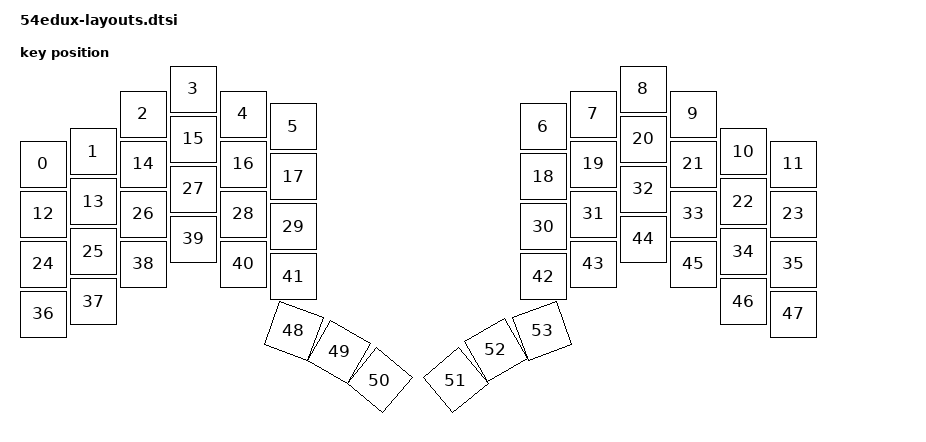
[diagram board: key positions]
#include <physical_layouts.dtsi>

/ {
    physical_layout0: physical_layout_0 {
        compatible = "zmk,physical-layout";
        display-name = "Default";

        kscan = <&kscan0>;
        transform = <&matrix_transform0>;

        keys  //                     w   h    x    y     rot    rx    ry
            = <&key_physical_attrs 100 100    0  150       0     0     0>
            , <&key_physical_attrs 100 100  100  125       0     0     0>
            , <&key_physical_attrs 100 100  200   50       0     0     0>
            , <&key_physical_attrs 100 100  300    0       0     0     0>
            , <&key_physical_attrs 100 100  400   50       0     0     0>
            , <&key_physical_attrs 100 100  500   75       0     0     0>
            , <&key_physical_attrs 100 100 1000   75       0     0     0>
            , <&key_physical_attrs 100 100 1100   50       0     0     0>
            , <&key_physical_attrs 100 100 1200    0       0     0     0>
            , <&key_physical_attrs 100 100 1300   50       0     0     0>
            , <&key_physical_attrs 100 100 1400  125       0     0     0>
            , <&key_physical_attrs 100 100 1500  150       0     0     0>
            , <&key_physical_attrs 100 100    0  250       0     0     0>
            , <&key_physical_attrs 100 100  100  225       0     0     0>
            , <&key_physical_attrs 100 100  200  150       0     0     0>
            , <&key_physical_attrs 100 100  300  100       0     0     0>
            , <&key_physical_attrs 100 100  400  150       0     0     0>
            , <&key_physical_attrs 100 100  500  175       0     0     0>
            , <&key_physical_attrs 100 100 1000  175       0     0     0>
            , <&key_physical_attrs 100 100 1100  150       0     0     0>
            , <&key_physical_attrs 100 100 1200  100       0     0     0>
            , <&key_physical_attrs 100 100 1300  150       0     0     0>
            , <&key_physical_attrs 100 100 1400  225       0     0     0>
            , <&key_physical_attrs 100 100 1500  250       0     0     0>
            , <&key_physical_attrs 100 100    0  350       0     0     0>
            , <&key_physical_attrs 100 100  100  325       0     0     0>
            , <&key_physical_attrs 100 100  200  250       0     0     0>
            , <&key_physical_attrs 100 100  300  200       0     0     0>
            , <&key_physical_attrs 100 100  400  250       0     0     0>
            , <&key_physical_attrs 100 100  500  275       0     0     0>
            , <&key_physical_attrs 100 100 1000  275       0     0     0>
            , <&key_physical_attrs 100 100 1100  250       0     0     0>
            , <&key_physical_attrs 100 100 1200  200       0     0     0>
            , <&key_physical_attrs 100 100 1300  250       0     0     0>
            , <&key_physical_attrs 100 100 1400  325       0     0     0>
            , <&key_physical_attrs 100 100 1500  350       0     0     0>
            , <&key_physical_attrs 100 100    0  450       0     0     0>
            , <&key_physical_attrs 100 100  100  425       0     0     0>
            , <&key_physical_attrs 100 100  200  350       0     0     0>
            , <&key_physical_attrs 100 100  300  300       0     0     0>
            , <&key_physical_attrs 100 100  400  350       0     0     0>
            , <&key_physical_attrs 100 100  500  375       0     0     0>
            , <&key_physical_attrs 100 100 1000  375       0     0     0>
            , <&key_physical_attrs 100 100 1100  350       0     0     0>
            , <&key_physical_attrs 100 100 1200  300       0     0     0>
            , <&key_physical_attrs 100 100 1300  350       0     0     0>
            , <&key_physical_attrs 100 100 1400  425       0     0     0>
            , <&key_physical_attrs 100 100 1500  450       0     0     0>
            , <&key_physical_attrs 100 100  450  475    2000   500   675>
            , <&key_physical_attrs 100 100  535  460    3000   490   650>
            , <&key_physical_attrs 100 100  640  425    4000   490   600>
            , <&key_physical_attrs 100 100  850  450 (-4000)  1070   600>
            , <&key_physical_attrs 100 100  960  475 (-3000)  1070   650>
            , <&key_physical_attrs 100 100 1050  475 (-2000)  1100   675>
            ;
    };
};
